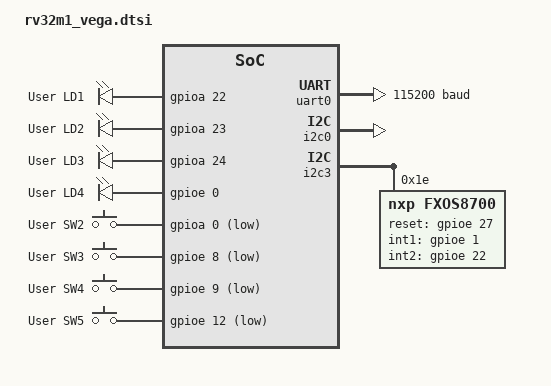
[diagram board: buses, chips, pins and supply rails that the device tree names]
/*
 * Copyright 2018 Foundries.io Ltd
 * SPDX-License-Identifier: Apache-2.0
 */

/ {
	aliases {
		led0 = &green_led;
		led1 = &blue_led;
		led2 = &red_led;
		led3 = &sts_led;
		sw0 = &user_button_2;
		sw1 = &user_button_3;
		sw2 = &user_button_4;
		sw3 = &user_button_5;
	};

	leds {
		compatible = "gpio-leds";
		blue_led: led_0 {
			gpios = <&gpioa 22 0>;
			label = "User LD1";
		};
		green_led: led_1 {
			gpios = <&gpioa 23 0>;
			label = "User LD2";
		};
		red_led: led_2 {
			gpios = <&gpioa 24 0>;
			label = "User LD3";
		};
		sts_led: led_3 {
			gpios = <&gpioe 0 0>;
			label = "User LD4";
		};
	};

	gpio_keys {
		compatible = "gpio-keys";
		user_button_2: button_0 {
			label = "User SW2";
			gpios = <&gpioa 0 GPIO_INT_ACTIVE_LOW>;
		};
		user_button_3: button_1 {
			label = "User SW3";
			gpios = <&gpioe 8 GPIO_INT_ACTIVE_LOW>;
		};
		user_button_4: button_2 {
			label = "User SW4";
			gpios = <&gpioe 9 GPIO_INT_ACTIVE_LOW>;
		};
		user_button_5: button_3 {
			label = "User SW5";
			gpios = <&gpioe 12 GPIO_INT_ACTIVE_LOW>;
		};
	};
};

&uart0 {
	current-speed = <115200>;
	status = "ok";
};

arduino_i2c: &i2c0 {
	status = "ok";
};

&i2c3 {
	status = "ok";

	fxos8700@1e {
		compatible = "nxp,fxos8700";
		reg = <0x1e>;
		label = "FXOS8700";
		reset-gpios = <&gpioe 27 0>;
		int1-gpios = <&gpioe 1 0>;
		int2-gpios = <&gpioe 22 0>;
	};
};
